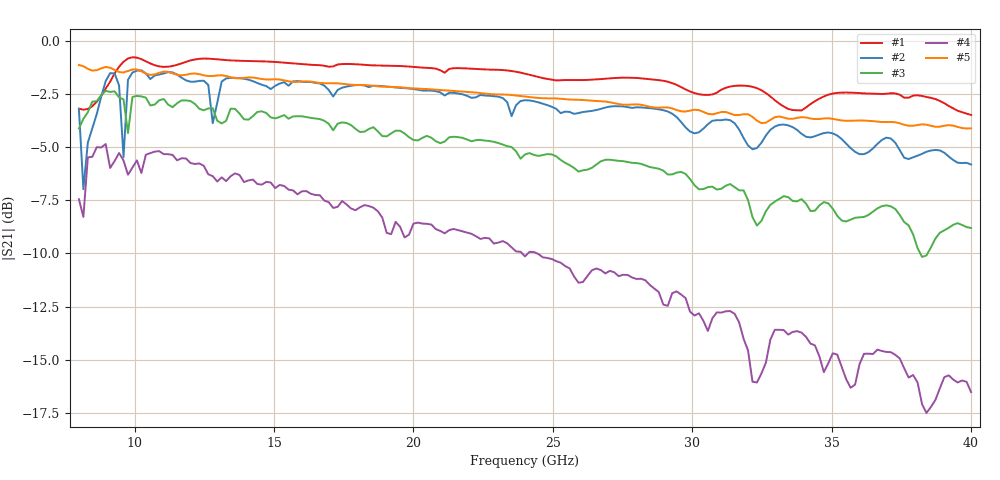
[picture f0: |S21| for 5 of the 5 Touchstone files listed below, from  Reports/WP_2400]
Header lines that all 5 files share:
!Agilent Technologies,N5227A,US51270464,A.10.00.00
!Agilent N5227A: A.10.00.00
!Correction: S11(Full 2 Port(1,2))
!S21(Full 2 Port(1,2))
!S12(Full 2 Port(1,2))
!S22(Full 2 Port(1,2))
!S2P File: Measurements: S11, S21, S12, S22:
# Hz S  RI  R 50
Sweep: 8 GHz to 40 GHz
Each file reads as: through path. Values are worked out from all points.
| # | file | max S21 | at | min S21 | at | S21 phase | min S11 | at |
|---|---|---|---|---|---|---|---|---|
| 1 | 16.s2p | -0.76 dB | 9.92 GHz | -3.5 dB | 40 GHz | 163 deg at 24 GHz | -39.0 dB | 21.44 GHz |
| 2 | 64.s2p | -1.38 dB | 10.24 GHz | -7.0 dB | 8.16 GHz | -26 deg at 24 GHz | -52.4 dB | 27.36 GHz |
| 3 | 256.s2p | -2.34 dB | 8.96 GHz | -10.2 dB | 38.24 GHz | -79 deg at 24 GHz | -41.7 dB | 23.52 GHz |
| 4 | 1024.s2p | -4.85 dB | 8.96 GHz | -17.5 dB | 38.4 GHz | 112 deg at 24 GHz | -44.7 dB | 21.28 GHz |
| 5 | Line.s2p | -1.12 dB | 8 GHz | -4.1 dB | 39.84 GHz | -34 deg at 24 GHz | -41.1 dB | 12.16 GHz |
